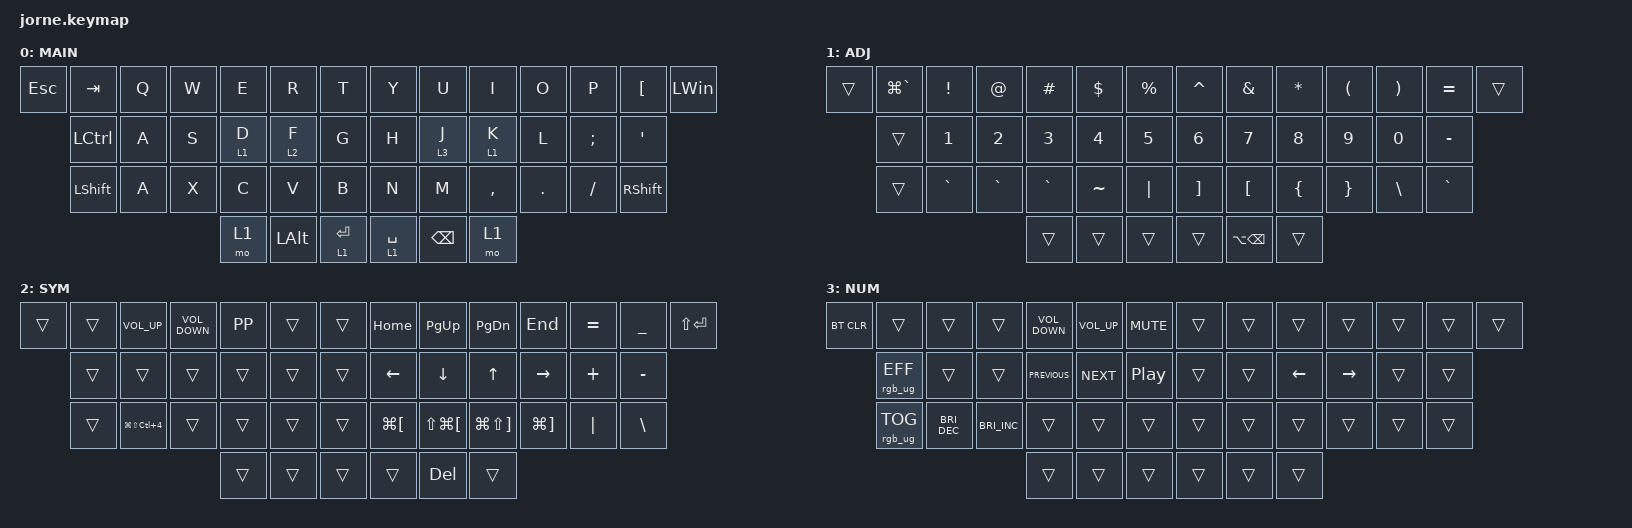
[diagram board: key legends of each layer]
/*
 * Copyright (c) 2020 The ZMK Contributors
 *
 * SPDX-License-Identifier: MIT
 */

#define SPLIT_USB_DETECT
#define DEF 0
#define LWR 1
#define RSE 2
#define ADJ 3

#include <behaviors.dtsi>
#include <dt-bindings/zmk/bt.h>
#include <dt-bindings/zmk/keys.h>
#include <dt-bindings/zmk/rgb.h>

&led_strip {
    chain-length = <28>; // 21 backlight + 6 underglow
};

&lt { quick-tap-ms = <200>; };

&mt {
    tapping-term-ms = <350>;
    quick-tap-ms = <200>;
};

/ {
    conditional_layers { compatible = "zmk,conditional-layers"; };

    keymap {
        compatible = "zmk,keymap";

        default_layer {
            display-name = "MAIN";

            // -----------------------------------------------------------------------------------------
            // |  GUI |   ~  |  Q  |  W  |  E  |  R  |  T  |   |  Y  |  U   |  I  |  O  |  P  |  [   | GUI/] |
            //        | CTRL |  A  |  S  |  D  |  F  |  G  |   |  H  |  J   |  K  |  L  |  ;  |CTRL/'|
            //        | LALT |  Z  |  X  |  C  |  V  |  B  |   |  N  |  M   |  ,  |  .  |  /  |RALT/\|
            //                           | RSE | SPC | LWR |   | LWR | BSPC | RSE |

            bindings = <
&kp ESCAPE  &kp TAB           &kp Q  &kp W  &kp E    &kp R         &kp T          &kp Y        &kp U          &kp I      &kp O    &kp P     &kp LEFT_BRACKET  &kp LEFT_WIN
            &kp LEFT_CONTROL  &kp A  &kp S  &lt 1 D  &lt 2 F       &kp G          &kp H        &lt 3 J        &lt 1 K    &kp L    &kp SEMI  &kp SQT
            &kp LEFT_SHIFT    &kp A  &kp X  &kp C    &kp V         &kp B          &kp N        &kp M          &kp COMMA  &kp DOT  &kp FSLH  &kp RIGHT_SHIFT
                                            &mo 1    &kp LEFT_ALT  &lt 1 ENTER    &lt 1 SPACE  &kp BACKSPACE  &mo 1
            >;
        };

        numbers_symbols {
            display-name = "ADJ";

            // -----------------------------------------------------------------------------------------
            // | RST | BLDR | STU |     |     |     |     |   |     |     |     |     | STU | BLDR | RST |
            //       | BTCLR| BT0 | BT1 | BT2 | BT3 | BT4 |   | BT4 | BT3 | BT2 | BT1 | BT0 | BTCLR|
            //       | OUT  |     |     |     |     |     |   |     |     |     |     |     | OUT  |
            //                          |     |     |     |   |     |     |     |

            bindings = <
&trans  &kp LG(GRAVE)  &kp EXCLAMATION  &kp AT_SIGN  &kp HASH   &kp DOLLAR  &kp PERCENT    &kp CARET          &kp AMPERSAND      &kp ASTERISK    &kp LEFT_PARENTHESIS  &kp RIGHT_PARENTHESIS  &kp EQUAL  &trans
        &trans         &kp N1           &kp N2       &kp N3     &kp N4      &kp N5         &kp N6             &kp N7             &kp N8          &kp N9                &kp N0                 &kp MINUS
        &trans         &kp GRAVE        &kp GRAVE    &kp GRAVE  &kp TILDE   &kp PIPE       &kp RIGHT_BRACKET  &kp LEFT_BRACKET   &kp LEFT_BRACE  &kp RIGHT_BRACE       &kp BACKSLASH          &kp GRAVE
                                                     &trans     &trans      &trans         &trans             &kp LA(BACKSPACE)  &trans
            >;
        };

        right_hand {
            display-name = "SYM";

            // -----------------------------------------------------------------------------------------
            // |     |  _  |  F1 |  F2 |  F3 |  F4 |  F5 |   |  F6 |  F7 |  F8 |  F9 | F10 | F11 | F12 |
            //       |  +  |  !  |  @  |  #  |  $  |  %  |   |  ^  |  &  |  *  |  (  |  )  |  -  |
            //       |  =  |  1  |  2  |  3  |  4  |  5  |   |  6  |  7  |  8  |  9  |  0  |     |
            //                         | ADJ |     |     |   |     |     | ADJ |

            bindings = <
&trans  &trans  &kp C_VOLUME_UP           &kp C_VOLUME_DOWN  &kp K_PP  &trans  &trans    &kp HOME              &kp PAGE_UP               &kp PAGE_DOWN              &kp END                &kp EQUAL  &kp UNDERSCORE  &kp LS(ENTER)
        &trans  &trans                    &trans             &trans    &trans  &trans    &kp LEFT              &kp DOWN                  &kp UP                     &kp RIGHT              &kp PLUS   &kp MINUS
        &trans  &kp LG(LS(LC(NUMBER_4)))  &trans             &trans    &trans  &trans    &kp LG(LEFT_BRACKET)  &kp LS(LG(LEFT_BRACKET))  &kp LG(LS(RIGHT_BRACKET))  &kp LG(RIGHT_BRACKET)  &kp PIPE   &kp BACKSLASH
                                                             &trans    &trans  &trans    &trans                &kp DELETE                &trans
            >;
        };

        left_hand {
            display-name = "NUM";

            // -----------------------------------------------------------------------------------------
            // |     | NMLK |  /  |  7  |  8  |  9  |  -  |   | VOLU| HOME| PRSC| PGUP| SCLK| CLCK|     |
            //       |CTRL/=|  *  |  4  |  5  |  6  |  +  |   | MUT | LEFT|  UP | RGHT| INS | APP |
            //       |      |  0  |  1  |  2  |  3  |  .  |   | VOLD| END | DOWN| PGDN| PAUS|     |
            //                          |     |     | ADJ |   | ADJ |     |     |

            bindings = <
&bt BT_CLR  &trans           &trans                &trans                &kp C_VOLUME_DOWN  &kp C_VOLUME_UP  &kp C_MUTE          &trans  &trans  &trans    &trans     &trans  &trans  &trans
            &rgb_ug RGB_EFF  &trans                &trans                &kp C_PREVIOUS     &kp C_NEXT       &kp C_PLAY_PAUSE    &trans  &trans  &kp LEFT  &kp RIGHT  &trans  &trans
            &rgb_ug RGB_TOG  &kp C_BRIGHTNESS_DEC  &kp C_BRIGHTNESS_INC  &trans             &trans           &trans              &trans  &trans  &trans    &trans     &trans  &trans
                                                                         &trans             &trans           &trans              &trans  &trans  &trans
            >;
        };
    };
};
